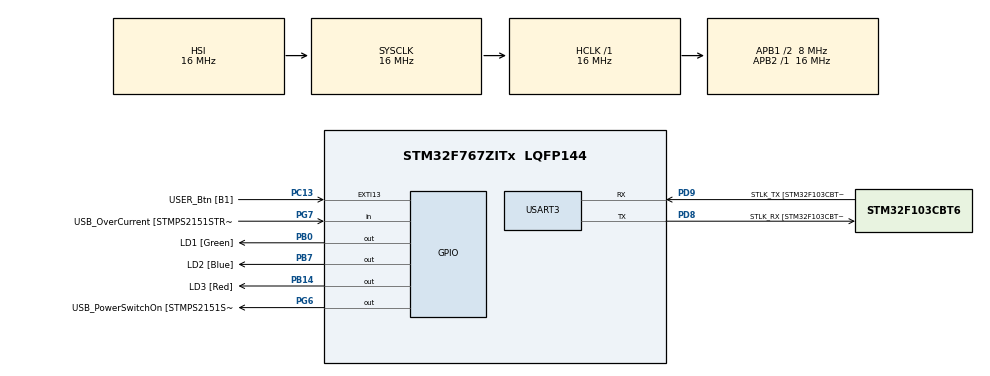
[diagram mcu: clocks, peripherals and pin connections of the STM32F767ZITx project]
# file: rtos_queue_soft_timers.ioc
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Mcu.Family=STM32F7
Mcu.Name=STM32F767ZITx
Mcu.Package=LQFP144
NVIC.FPU_IRQn=true\:0\:0\:false\:false\:true\:true\:false\:true
NVIC.PriorityGroup=NVIC_PRIORITYGROUP_4
NVIC.TIM6_DAC_IRQn=true\:15\:0\:false\:false\:true\:false\:true\:true
NVIC.TimeBase=TIM6_DAC_IRQn
NVIC.TimeBaseIP=TIM6
NVIC.USART3_IRQn=true\:6\:0\:true\:false\:true\:true\:true\:true
PA1.GPIO_Label=RMII_REF_CLK [LAN8742A-CZ-TR_REFCLK0]
PA1.Signal=ETH_REF_CLK
PA10.GPIO_Label=USB_ID
PA10.Signal=USB_OTG_FS_ID
PA11.GPIO_Label=USB_DM
PA11.Signal=USB_OTG_FS_DM
PA12.GPIO_Label=USB_DP
PA12.Signal=USB_OTG_FS_DP
PA13.GPIO_Label=TMS
PA13.Signal=SYS_JTMS-SWDIO
PA14.GPIO_Label=TCK
PA14.Signal=SYS_JTCK-SWCLK
PA2.GPIO_Label=RMII_MDIO [LAN8742A-CZ-TR_MDIO]
PA2.Signal=ETH_MDIO
PA7.GPIO_Label=RMII_CRS_DV [LAN8742A-CZ-TR_CRS_DV]
PA7.Signal=ETH_CRS_DV
PA8.GPIO_Label=USB_SOF [TP1]
PA8.Signal=USB_OTG_FS_SOF
PA9.GPIO_Label=USB_VBUS
PA9.Signal=USB_OTG_FS_VBUS
PB0.GPIO_Label=LD1 [Green]
PB0.Signal=GPIO_Output
PB13.GPIO_Label=RMII_TXD1 [LAN8742A-CZ-TR_TXD1]
PB13.Signal=ETH_TXD1
PB14.GPIO_Label=LD3 [Red]
PB14.Signal=GPIO_Output
PB3.GPIO_Label=SW0
PB3.Signal=SYS_JTDO-SWO
PB7.GPIO_Label=LD2 [Blue]
PB7.Signal=GPIO_Output
PC1.GPIO_Label=RMII_MDC [LAN8742A-CZ-TR_MDC]
PC1.Signal=ETH_MDC
PC13.GPIO_Label=USER_Btn [B1]
PC13.Signal=GPXTI13
PC14/OSC32_IN.Signal=RCC_OSC32_IN
PC15/OSC32_OUT.Signal=RCC_OSC32_OUT
PC4.GPIO_Label=RMII_RXD0 [LAN8742A-CZ-TR_RXD0]
PC4.Signal=ETH_RXD0
PC5.GPIO_Label=RMII_RXD1 [LAN8742A-CZ-TR_RXD1]
PC5.Signal=ETH_RXD1
PD8.GPIO_Label=STLK_RX [STM32F103CBT6_PA3]
PD8.Mode=Asynchronous
PD8.Signal=USART3_TX
PD9.GPIO_Label=STLK_TX [STM32F103CBT6_PA2]
PD9.Mode=Asynchronous
PD9.Signal=USART3_RX
PG11.GPIO_Label=RMII_TX_EN [LAN8742A-CZ-TR_TXEN]
PG11.Signal=ETH_TX_EN
PG13.GPIO_Label=RMII_TXD0 [LAN8742A-CZ-TR_TXD0]
PG13.Signal=ETH_TXD0
PG6.GPIO_Label=USB_PowerSwitchOn [STMPS2151STR_EN]
PG6.Signal=GPIO_Output
PG7.GPIO_Label=USB_OverCurrent [STMPS2151STR_FAULT]
PG7.Signal=GPIO_Input
PH0/OSC_IN.GPIO_Label=MCO [STM32F103CBT6_PA8]
PH0/OSC_IN.Signal=RCC_OSC_IN
PH1/OSC_OUT.Signal=RCC_OSC_OUT
ProjectManager.HeapSize=0x200
ProjectManager.StackSize=0x400
ProjectManager.TargetToolchain=STM32CubeIDE
RCC.48MHZClocksFreq_Value=24000000
RCC.AHBFreq_Value=16000000
RCC.APB1CLKDivider=RCC_HCLK_DIV2
RCC.APB1Freq_Value=8000000
RCC.APB1TimFreq_Value=16000000
RCC.APB2Freq_Value=16000000
RCC.APB2TimFreq_Value=16000000
RCC.CortexFreq_Value=16000000
RCC.HCLKFreq_Value=16000000
RCC.HSE_VALUE=16000000
RCC.HSI_VALUE=16000000
RCC.LSE_VALUE=32768
RCC.PLLMUL=RCC_PLL_MUL9
RCC.PRESCALERUSB=RCC_USBCLKSOURCE_PLL_DIV1_5
RCC.SYSCLKFreq_VALUE=16000000
RCC.SYSCLKSourceVirtual=RCC_SYSCLKSOURCE_PLLCLK
RCC.USBFreq_Value=96000000
RCC.VCOOutputFreq_Value=192000000
RTC.HourFormat=RTC_HOURFORMAT_12
USART3.VirtualMode-Asynchronous=VM_ASYNC
VP_RTC_VS_RTC_Activate.Mode=RTC_Enabled
VP_SYS_VS_tim6.Mode=TIM6
board=NUCLEO-F767ZI

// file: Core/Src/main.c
/* USER CODE BEGIN Header */
/**
  ******************************************************************************
  * @file           : main.c
  * @brief          : Main program body
  ******************************************************************************
  * @attention
  *
  * Copyright (c) 2025 STMicroelectronics.
  * All rights reserved.
  *
  * This software is licensed under terms that can be found in the LICENSE file
  * in the root directory of this software component.
  * If no LICENSE file comes with this software, it is provided AS-IS.
  *
  ******************************************************************************
  */
/* USER CODE END Header */
#include "main.h"

RTC_HandleTypeDef hrtc;

UART_HandleTypeDef huart3;

/* USER CODE BEGIN PV */
#define DWT_CTRL_VALUE (*(volatile uint32_t *)(0xE0001000))
/* USER CODE END PV */

void SystemClock_Config(void);
static void MX_GPIO_Init(void);
static void MX_RTC_Init(void);
static void MX_USART3_UART_Init(void);
/* USER CODE BEGIN PFP */
void tMenu(void *params);
void tLED(void *params);
void tRTC(void *params);
void tPrintf(void *params);
void tCmd(void *params);
void timerLedeffect(TimerHandle_t expTimer);

TaskHandle_t tMenuHandle;
TaskHandle_t tLEDHandle;
TaskHandle_t tRTCHandle;
TaskHandle_t tPrintfHandle;
TaskHandle_t tCmdHandle;
TimerHandle_t tr500msHandle;
TimerHandle_t tr200msHandle;
QueueHandle_t qDataHandle, qPrintHandle;
state_t curr_state = sMainMenu;

volatile uint8_t user_data;
/* USER CODE END PFP */

int main(void)
{

  /* USER CODE BEGIN 1 */
  BaseType_t status;
  /* USER CODE END 1 */

  /* MCU Configuration--------------------------------------------------------*/

  /* Reset of all peripherals, Initializes the Flash interface and the Systick. */
  HAL_Init();

  /* Configure the system clock */
  SystemClock_Config();

  /* USER CODE BEGIN SysInit */
  // Start the CYCLE Counter of ARM-Cortex M7
  CoreDebug->DEMCR |= CoreDebug_DEMCR_TRCENA_Msk;
  DWT->LAR =0xc5acce55;
  DWT->CYCCNT = 0;
  DWT->CTRL |= DWT_CTRL_CYCCNTENA_Msk;

  /* USER CODE END SysInit */

  /* Initialize all configured peripherals */
  MX_GPIO_Init();
  MX_RTC_Init();
  MX_USART3_UART_Init();
  /* USER CODE BEGIN 2 */
  // Start the CYCLE Counter of ARM-Cortex M7
  DWT_CTRL_VALUE |= (1 << 0);

//  SEGGER_UART_init(115200);
//
//  // The SEGGER_SYSVIEW_Conf has to be called before calling any FreeRTOS APIs
//  SEGGER_SYSVIEW_Conf();

  status = xTaskCreate(tMenu,
                       "Menu_task",
                       250,
                       NULL,
                       tskIDLE_PRIORITY + 2,
                       &tMenuHandle);
  configASSERT(status == pdPASS);

  status = xTaskCreate(tLED,
                       "LED_task",
                       250,
                       NULL,
                       tskIDLE_PRIORITY + 2,
                       &tLEDHandle);
  configASSERT(status == pdPASS);

  status = xTaskCreate(tRTC,
                       "RTC_task",
                       250,
                       NULL,
                       tskIDLE_PRIORITY + 2,
                       &tRTCHandle);
  configASSERT(status == pdPASS);

  status = xTaskCreate(tPrintf,
                       "Print_task",
                       250,
                       NULL,
                       tskIDLE_PRIORITY + 3,
                       &tPrintfHandle);
  configASSERT(status == pdPASS);

  status = xTaskCreate(tCmd,
                       "Cmd_task",
                       250,
                       NULL,
                       tskIDLE_PRIORITY + 2,
                       &tCmdHandle);
  configASSERT(status == pdPASS);

  //Create Queues
  qDataHandle = xQueueCreate(10, sizeof(char));

  configASSERT(qDataHandle != NULL);

  qPrintHandle = xQueueCreate(10, sizeof(size_t));

  configASSERT(qPrintHandle != NULL);

  tr500msHandle = xTimerCreate("t500ms", pdMS_TO_TICKS(500), pdTRUE, (void *) 1, timerLedeffect);
  tr200msHandle = xTimerCreate("t200ms", pdMS_TO_TICKS(200), pdTRUE, (void *) 2, timerLedeffect);
  HAL_UART_Receive_IT(&huart3, &user_data, 1);

  // Start the FreeRTOS scheduler
  vTaskStartScheduler();

  /* USER CODE END 2 */

  /* Infinite loop */
  while (1)
  {

  }
}

void SystemClock_Config(void)
{
  RCC_OscInitTypeDef RCC_OscInitStruct = {0};
  RCC_ClkInitTypeDef RCC_ClkInitStruct = {0};

  /** Configure the main internal regulator output voltage
  */
  __HAL_RCC_PWR_CLK_ENABLE();
  __HAL_PWR_VOLTAGESCALING_CONFIG(PWR_REGULATOR_VOLTAGE_SCALE3);

  /** Initializes the RCC Oscillators according to the specified parameters
  * in the RCC_OscInitTypeDef structure.
  */
  RCC_OscInitStruct.OscillatorType = RCC_OSCILLATORTYPE_HSI|RCC_OSCILLATORTYPE_LSI;
  RCC_OscInitStruct.HSIState = RCC_HSI_ON;
  RCC_OscInitStruct.HSICalibrationValue = RCC_HSICALIBRATION_DEFAULT;
  RCC_OscInitStruct.LSIState = RCC_LSI_ON;
  RCC_OscInitStruct.PLL.PLLState = RCC_PLL_NONE;
  if (HAL_RCC_OscConfig(&RCC_OscInitStruct) != HAL_OK)
  {
    Error_Handler();
  }

  /** Initializes the CPU, AHB and APB buses clocks
  */
  RCC_ClkInitStruct.ClockType = RCC_CLOCKTYPE_HCLK|RCC_CLOCKTYPE_SYSCLK
                              |RCC_CLOCKTYPE_PCLK1|RCC_CLOCKTYPE_PCLK2;
  RCC_ClkInitStruct.SYSCLKSource = RCC_SYSCLKSOURCE_HSI;
  RCC_ClkInitStruct.AHBCLKDivider = RCC_SYSCLK_DIV1;
  RCC_ClkInitStruct.APB1CLKDivider = RCC_HCLK_DIV2;
  RCC_ClkInitStruct.APB2CLKDivider = RCC_HCLK_DIV1;

  if (HAL_RCC_ClockConfig(&RCC_ClkInitStruct, FLASH_LATENCY_0) != HAL_OK)
  {
    Error_Handler();
  }
}

static void MX_RTC_Init(void)
{

  /** Initialize RTC Only
  */
  hrtc.Instance = RTC;
  hrtc.Init.HourFormat = RTC_HOURFORMAT_12;
  hrtc.Init.AsynchPrediv = 127;
  hrtc.Init.SynchPrediv = 255;
  hrtc.Init.OutPut = RTC_OUTPUT_DISABLE;
  hrtc.Init.OutPutPolarity = RTC_OUTPUT_POLARITY_HIGH;
  hrtc.Init.OutPutType = RTC_OUTPUT_TYPE_OPENDRAIN;
  if (HAL_RTC_Init(&hrtc) != HAL_OK)
  {
    Error_Handler();
  }

}

static void MX_USART3_UART_Init(void)
{

  huart3.Instance = USART3;
  huart3.Init.BaudRate = 115200;
  huart3.Init.WordLength = UART_WORDLENGTH_8B;
  huart3.Init.StopBits = UART_STOPBITS_1;
  huart3.Init.Parity = UART_PARITY_NONE;
  huart3.Init.Mode = UART_MODE_TX_RX;
  huart3.Init.HwFlowCtl = UART_HWCONTROL_NONE;
  huart3.Init.OverSampling = UART_OVERSAMPLING_16;
  huart3.Init.OneBitSampling = UART_ONE_BIT_SAMPLE_DISABLE;
  huart3.AdvancedInit.AdvFeatureInit = UART_ADVFEATURE_NO_INIT;
  if (HAL_UART_Init(&huart3) != HAL_OK)
  {
    Error_Handler();
  }

}

static void MX_GPIO_Init(void)
{
  GPIO_InitTypeDef GPIO_InitStruct = {0};

  /* GPIO Ports Clock Enable */
  __HAL_RCC_GPIOC_CLK_ENABLE();
  __HAL_RCC_GPIOH_CLK_ENABLE();
  __HAL_RCC_GPIOA_CLK_ENABLE();
  __HAL_RCC_GPIOB_CLK_ENABLE();
  __HAL_RCC_GPIOD_CLK_ENABLE();
  __HAL_RCC_GPIOG_CLK_ENABLE();

  /*Configure GPIO pin Output Level */
  HAL_GPIO_WritePin(GPIOB, LD1_Pin|LD3_Pin|LD2_Pin, GPIO_PIN_RESET);

  /*Configure GPIO pin Output Level */
  HAL_GPIO_WritePin(USB_PowerSwitchOn_GPIO_Port, USB_PowerSwitchOn_Pin, GPIO_PIN_RESET);

  /*Configure GPIO pin : USER_Btn_Pin */
  GPIO_InitStruct.Pin = USER_Btn_Pin;
  GPIO_InitStruct.Mode = GPIO_MODE_IT_RISING;
  GPIO_InitStruct.Pull = GPIO_NOPULL;
  HAL_GPIO_Init(USER_Btn_GPIO_Port, &GPIO_InitStruct);

  /*Configure GPIO pins : RMII_MDC_Pin RMII_RXD0_Pin RMII_RXD1_Pin */
  GPIO_InitStruct.Pin = RMII_MDC_Pin|RMII_RXD0_Pin|RMII_RXD1_Pin;
  GPIO_InitStruct.Mode = GPIO_MODE_AF_PP;
  GPIO_InitStruct.Pull = GPIO_NOPULL;
  GPIO_InitStruct.Speed = GPIO_SPEED_FREQ_VERY_HIGH;
  GPIO_InitStruct.Alternate = GPIO_AF11_ETH;
  HAL_GPIO_Init(GPIOC, &GPIO_InitStruct);

  /*Configure GPIO pins : RMII_REF_CLK_Pin RMII_MDIO_Pin RMII_CRS_DV_Pin */
  GPIO_InitStruct.Pin = RMII_REF_CLK_Pin|RMII_MDIO_Pin|RMII_CRS_DV_Pin;
  GPIO_InitStruct.Mode = GPIO_MODE_AF_PP;
  GPIO_InitStruct.Pull = GPIO_NOPULL;
  GPIO_InitStruct.Speed = GPIO_SPEED_FREQ_VERY_HIGH;
  GPIO_InitStruct.Alternate = GPIO_AF11_ETH;
  HAL_GPIO_Init(GPIOA, &GPIO_InitStruct);

  /*Configure GPIO pins : LD1_Pin LD3_Pin LD2_Pin */
  GPIO_InitStruct.Pin = LD1_Pin|LD3_Pin|LD2_Pin;
  GPIO_InitStruct.Mode = GPIO_MODE_OUTPUT_PP;
  GPIO_InitStruct.Pull = GPIO_NOPULL;
  GPIO_InitStruct.Speed = GPIO_SPEED_FREQ_LOW;
  HAL_GPIO_Init(GPIOB, &GPIO_InitStruct);

  /*Configure GPIO pin : RMII_TXD1_Pin */
  GPIO_InitStruct.Pin = RMII_TXD1_Pin;
  GPIO_InitStruct.Mode = GPIO_MODE_AF_PP;
  GPIO_InitStruct.Pull = GPIO_NOPULL;
  GPIO_InitStruct.Speed = GPIO_SPEED_FREQ_VERY_HIGH;
  GPIO_InitStruct.Alternate = GPIO_AF11_ETH;
  HAL_GPIO_Init(RMII_TXD1_GPIO_Port, &GPIO_InitStruct);

  /*Configure GPIO pin : USB_PowerSwitchOn_Pin */
  GPIO_InitStruct.Pin = USB_PowerSwitchOn_Pin;
  GPIO_InitStruct.Mode = GPIO_MODE_OUTPUT_PP;
  GPIO_InitStruct.Pull = GPIO_NOPULL;
  GPIO_InitStruct.Speed = GPIO_SPEED_FREQ_LOW;
  HAL_GPIO_Init(USB_PowerSwitchOn_GPIO_Port, &GPIO_InitStruct);

  /*Configure GPIO pin : USB_OverCurrent_Pin */
  GPIO_InitStruct.Pin = USB_OverCurrent_Pin;
  GPIO_InitStruct.Mode = GPIO_MODE_INPUT;
  GPIO_InitStruct.Pull = GPIO_NOPULL;
  HAL_GPIO_Init(USB_OverCurrent_GPIO_Port, &GPIO_InitStruct);

  /*Configure GPIO pins : USB_SOF_Pin USB_ID_Pin USB_DM_Pin USB_DP_Pin */
  GPIO_InitStruct.Pin = USB_SOF_Pin|USB_ID_Pin|USB_DM_Pin|USB_DP_Pin;
  GPIO_InitStruct.Mode = GPIO_MODE_AF_PP;
  GPIO_InitStruct.Pull = GPIO_NOPULL;
  GPIO_InitStruct.Speed = GPIO_SPEED_FREQ_VERY_HIGH;
  GPIO_InitStruct.Alternate = GPIO_AF10_OTG_FS;
  HAL_GPIO_Init(GPIOA, &GPIO_InitStruct);

  /*Configure GPIO pin : USB_VBUS_Pin */
  GPIO_InitStruct.Pin = USB_VBUS_Pin;
  GPIO_InitStruct.Mode = GPIO_MODE_INPUT;
  GPIO_InitStruct.Pull = GPIO_NOPULL;
  HAL_GPIO_Init(USB_VBUS_GPIO_Port, &GPIO_InitStruct);

  /*Configure GPIO pins : RMII_TX_EN_Pin RMII_TXD0_Pin */
  GPIO_InitStruct.Pin = RMII_TX_EN_Pin|RMII_TXD0_Pin;
  GPIO_InitStruct.Mode = GPIO_MODE_AF_PP;
  GPIO_InitStruct.Pull = GPIO_NOPULL;
  GPIO_InitStruct.Speed = GPIO_SPEED_FREQ_VERY_HIGH;
  GPIO_InitStruct.Alternate = GPIO_AF11_ETH;
  HAL_GPIO_Init(GPIOG, &GPIO_InitStruct);

}

/* USER CODE BEGIN 4 */
void HAL_UART_RxCpltCallback(UART_HandleTypeDef *huart)
{
  uint8_t dummy;

  //pdFALSE if the queue is not full, or
  //pdTRUE if the queue is full.
  if(xQueueIsQueueFullFromISR( qDataHandle ) == pdTRUE)	{
	  // Queue is full - ignore it to process the first rxd command

	  //if the queue is full and we receive \n then replace the last char in queue with '\n'
	  //to make sure that the command is valid to process by the command handler
	  if(user_data == '\n')	{
		  xQueueReceiveFromISR(qDataHandle, (void *)&dummy, NULL);
		  xQueueSendFromISR(qDataHandle, (void *)&user_data, NULL);
	  }
  } else	{
	  //Queue is not full, enqueue data

	  xQueueSendFromISR(qDataHandle, (void *)&user_data ,NULL);
  }
  if(user_data == '\n')	{
	  xTaskNotifyFromISR(tCmdHandle, 0, eNoAction, NULL);
  }

  HAL_UART_Transmit(&huart3, &user_data, 1, 0);

  HAL_UART_Receive_IT(&huart3, &user_data, 1);
}

/* USER CODE END 4 */

void HAL_TIM_PeriodElapsedCallback(TIM_HandleTypeDef *htim)
{
  if (htim->Instance == TIM6)
  {
    HAL_IncTick();
  }
}

void Error_Handler(void)
{
  __disable_irq();
  while (1)
  {
  }
}
